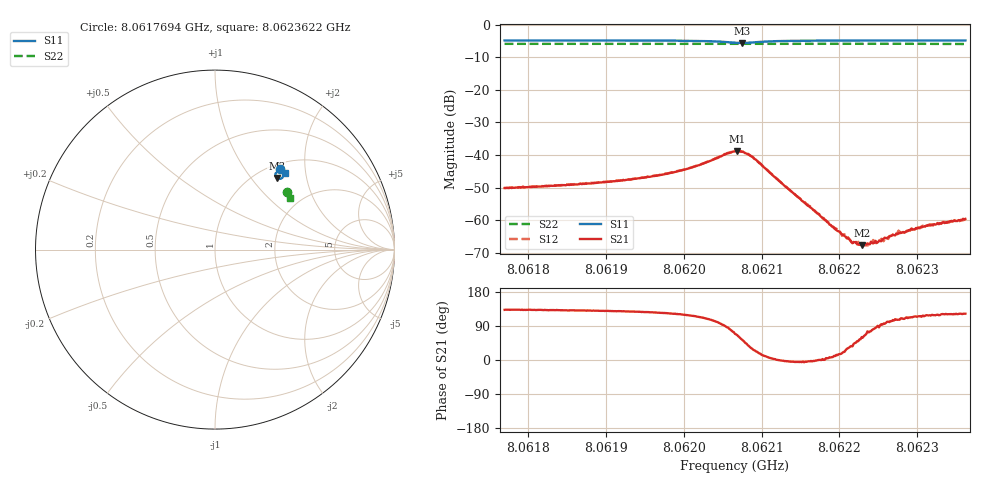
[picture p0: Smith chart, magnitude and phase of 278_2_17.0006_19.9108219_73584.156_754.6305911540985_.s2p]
#  HZ  S  RI  R  50.00
! Rohde & Schwarz Vector Network Analyzer
! Rohde-Schwarz,ZNB20-2Port,1311601062101988,3.16
! Created: UTC 3/20/2024, 11:04:34 PM
! freq[Hz]  re:S11  im:S11  re:S21  im:S21  re:S12  im:S12  re:S22  im:S22
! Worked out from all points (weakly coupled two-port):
!   401 points, 8.0617694 GHz to 8.0623622 GHz, reference 50 ohm
!   highest |S21| = -38.86 dB at 8.0620688 GHz (marker M1); lowest = -67.7 dB at 8.0622288 GHz (marker M2)
!   lowest |S11| = -5.6 dB at 8.0620747 GHz (marker M3), VSWR 3.23, Z = 61.3 + j67.8 ohm
!   |S11| at or under -10 dB: nowhere
!   |S22| runs from -5.9 to -5.8 dB; largest |S21 - S12| = 0.00087
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8.06176942e9  0.3624 0.4476  -0.0021 0.0023  -0.00198 0.00242  0.3986 0.3195
8.0618687e9  0.3695 0.4415  -0.00233 0.00272  -0.00217 0.00284  0.4023 0.3145
8.06191464e9  0.373 0.4378  -0.0025 0.00311  -0.00235 0.00328  0.4042 0.3122
8.06196799e9  0.3777 0.4315  -0.0028 0.00402  -0.00259 0.00419  0.4062 0.3096
8.06200948e9  0.3814 0.4223  -0.00293 0.00567  -0.00261 0.0059  0.4079 0.3072
8.06206579e9  0.3576 0.394  0.00404 0.0106  0.00447 0.0105  0.4085 0.3037
8.06206875e9  0.353 0.3948  0.00477 0.0104  0.00559 0.0102  0.4082 0.3035
8.06207468e9  0.3445 0.3993  0.0066 0.00906  0.00721 0.0087  0.4082 0.3036
8.06208061e9  0.3387 0.4069  0.0077 0.00717  0.00834 0.00673  0.4081 0.3039
8.06209098e9  0.3371 0.4216  0.00784 0.00371  0.00816 0.00327  0.4088 0.3041
8.06212951e9  0.3571 0.4395  0.00336 -0.000172  0.00341 -0.000328  0.4114 0.3029
8.06216508e9  0.3674 0.4384  0.00149 -9.66e-05  0.00149 -0.000162  0.4133 0.3009
8.06220509e9  0.3739 0.4359  0.000545 0.000209  0.000563 0.000184  0.4149 0.2992
8.06221694e9  0.3753 0.435  0.000355 0.00026  0.000367 0.000284  0.4153 0.2984
8.0622288e9  0.3766 0.4342  0.000203 0.000359  0.000268 0.000356  0.4158 0.2978
8.06223621e9  0.3774 0.4338  0.000109 0.000426  0.000149 0.00038  0.4161 0.2974
8.06225102e9  0.3789 0.4329  3.2e-05 0.000477  4.82e-05 0.000484  0.4166 0.2967
8.06226436e9  0.3802 0.432  -9.8e-05 0.000553  -6.14e-05 0.000564  0.4172 0.2959
8.06227325e9  0.3809 0.4315  -0.000176 0.000592  -0.000163 0.000597  0.4174 0.2954
8.06228363e9  0.3817 0.4309  -0.000204 0.000606  -0.000192 0.000621  0.4179 0.2949
8.06230882e9  0.3838 0.4293  -0.000345 0.000725  -0.000296 0.000753  0.4187 0.2937
8.06236216e9  0.3876 0.4264  -0.000557 0.000884  -0.000497 0.0009  0.4184 0.2885
